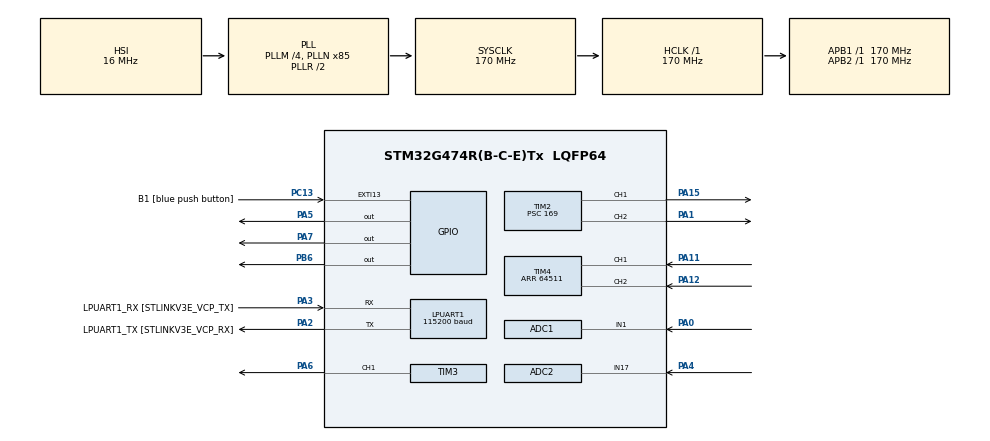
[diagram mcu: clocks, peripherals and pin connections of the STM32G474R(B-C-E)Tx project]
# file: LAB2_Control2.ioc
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ADC1.Channel-0\#ChannelRegularConversion=ADC_CHANNEL_1
ADC1.ContinuousConvMode=ENABLE
ADC1.DMAContinuousRequests=ENABLE
ADC1.EOCSelection=ADC_EOC_SINGLE_CONV
ADC1.EnableInjectedConversion=DISABLE
ADC1.NbrOfConversionFlag=1
ADC1.OffsetNumber-0\#ChannelRegularConversion=ADC_OFFSET_NONE
ADC1.Overrun=ADC_OVR_DATA_PRESERVED
ADC1.OversamplingMode=DISABLE
ADC1.Rank-0\#ChannelRegularConversion=1
ADC1.Rank1_Channel=ADC_CHANNEL_1
ADC1.Rank2_Channel=ADC_CHANNEL_1
ADC1.SamplingTime-0\#ChannelRegularConversion=ADC_SAMPLETIME_2CYCLES_5
ADC1.master=1
ADC2.Channel-2\#ChannelRegularConversion=ADC_CHANNEL_17
ADC2.ContinuousConvMode=ENABLE
ADC2.DMAContinuousRequests=ENABLE
ADC2.NbrOfConversionFlag=1
ADC2.OffsetNumber-2\#ChannelRegularConversion=ADC_OFFSET_NONE
ADC2.Rank-2\#ChannelRegularConversion=1
ADC2.SamplingTime-2\#ChannelRegularConversion=ADC_SAMPLETIME_2CYCLES_5
ARM.CMSIS-DSP.1.15.0.CMSISJjDSP=Source
ARM.CMSIS.6.0.0.CMSISJjCORE=true
Dma.ADC1.0.Direction=DMA_PERIPH_TO_MEMORY
Dma.ADC1.0.EventEnable=DISABLE
Dma.ADC1.0.Instance=DMA1_Channel1
Dma.ADC1.0.MemDataAlignment=DMA_MDATAALIGN_HALFWORD
Dma.ADC1.0.MemInc=DMA_MINC_ENABLE
Dma.ADC1.0.Mode=DMA_CIRCULAR
Dma.ADC1.0.PeriphDataAlignment=DMA_PDATAALIGN_HALFWORD
Dma.ADC1.0.PeriphInc=DMA_PINC_DISABLE
Dma.ADC1.0.Polarity=HAL_DMAMUX_REQ_GEN_RISING
Dma.ADC1.0.Priority=DMA_PRIORITY_LOW
Dma.ADC1.0.RequestNumber=1
Dma.ADC1.0.SignalID=NONE
Dma.ADC1.0.SyncEnable=DISABLE
Dma.ADC1.0.SyncPolarity=HAL_DMAMUX_SYNC_NO_EVENT
Dma.ADC1.0.SyncRequestNumber=1
Dma.ADC1.0.SyncSignalID=NONE
Dma.ADC2.1.Direction=DMA_PERIPH_TO_MEMORY
Dma.ADC2.1.EventEnable=DISABLE
Dma.ADC2.1.Instance=DMA2_Channel1
Dma.ADC2.1.MemDataAlignment=DMA_MDATAALIGN_HALFWORD
Dma.ADC2.1.MemInc=DMA_MINC_ENABLE
Dma.ADC2.1.Mode=DMA_CIRCULAR
Dma.ADC2.1.PeriphDataAlignment=DMA_PDATAALIGN_HALFWORD
Dma.ADC2.1.PeriphInc=DMA_PINC_DISABLE
Dma.ADC2.1.Polarity=HAL_DMAMUX_REQ_GEN_RISING
Dma.ADC2.1.Priority=DMA_PRIORITY_LOW
Dma.ADC2.1.RequestNumber=1
Dma.ADC2.1.SignalID=NONE
Dma.ADC2.1.SyncEnable=DISABLE
Dma.ADC2.1.SyncPolarity=HAL_DMAMUX_SYNC_NO_EVENT
Dma.ADC2.1.SyncRequestNumber=1
Dma.ADC2.1.SyncSignalID=NONE
Dma.Request0=ADC1
Dma.Request1=ADC2
LPUART1.BaudRate=115200
Mcu.Family=STM32G4
Mcu.Name=STM32G474R(B-C-E)Tx
Mcu.Package=LQFP64
NVIC.DMA1_Channel1_IRQn=true\:0\:0\:false\:false\:true\:false\:true\:true
NVIC.DMA2_Channel1_IRQn=true\:0\:0\:false\:false\:true\:false\:true\:true
NVIC.EXTI15_10_IRQn=true\:0\:0\:false\:false\:true\:true\:true\:true
NVIC.LPUART1_IRQn=true\:0\:0\:false\:false\:true\:true\:true\:true
NVIC.PriorityGroup=NVIC_PRIORITYGROUP_4
PA0.Mode=IN1-Single-Ended
PA0.Signal=ADC1_IN1
PA1.Signal=S_TIM2_CH2
PA11.Signal=S_TIM4_CH1
PA12.Signal=S_TIM4_CH2
PA13.GPIO_Label=T_SWDIO
PA13.Mode=Trace_Asynchronous_SW
PA13.Signal=SYS_JTMS-SWDIO
PA14.GPIO_Label=T_SWCLK
PA14.Mode=Trace_Asynchronous_SW
PA14.Signal=SYS_JTCK-SWCLK
PA15.Signal=S_TIM2_CH1
PA2.GPIO_Label=LPUART1_TX [STLINKV3E_VCP_RX]
PA2.Mode=Asynchronous
PA2.Signal=LPUART1_TX
PA3.GPIO_Label=LPUART1_RX [STLINKV3E_VCP_TX]
PA3.Mode=Asynchronous
PA3.Signal=LPUART1_RX
PA4.Mode=IN17-Single-Ended
PA4.Signal=ADC2_IN17
PA5.Signal=GPIO_Output
PA6.Signal=S_TIM3_CH1
PA7.Signal=GPIO_Output
PB3.GPIO_Label=T_SWO
PB3.Mode=Trace_Asynchronous_SW
PB3.Signal=SYS_JTDO-SWO
PB6.Signal=GPIO_Output
PC13.GPIO_Label=B1 [blue push button]
PC13.Signal=GPXTI13
PC14-OSC32_IN.Mode=LSE-External-Oscillator
PC14-OSC32_IN.Signal=RCC_OSC32_IN
PC15-OSC32_OUT.Mode=LSE-External-Oscillator
PC15-OSC32_OUT.Signal=RCC_OSC32_OUT
PF0-OSC_IN.Mode=HSE-External-Oscillator
PF0-OSC_IN.Signal=RCC_OSC_IN
PF1-OSC_OUT.Mode=HSE-External-Oscillator
PF1-OSC_OUT.Signal=RCC_OSC_OUT
ProjectManager.HeapSize=0x200
ProjectManager.StackSize=0x400
ProjectManager.TargetToolchain=STM32CubeIDE
RCC.ADC12Freq_Value=170000000
RCC.ADC345Freq_Value=170000000
RCC.AHBFreq_Value=170000000
RCC.APB1Freq_Value=170000000
RCC.APB1TimFreq_Value=170000000
RCC.APB2Freq_Value=170000000
RCC.APB2TimFreq_Value=170000000
RCC.CortexFreq_Value=170000000
RCC.EXTERNAL_CLOCK_VALUE=12288000
RCC.HCLKFreq_Value=170000000
RCC.HSE_VALUE=24000000
RCC.HSI48_VALUE=48000000
RCC.HSI_VALUE=16000000
RCC.PLLM=RCC_PLLM_DIV4
RCC.PLLN=85
RCC.RTCClockSelection=RCC_RTCCLKSOURCE_LSE
RCC.SYSCLKFreq_VALUE=170000000
RCC.SYSCLKSource=RCC_SYSCLKSOURCE_PLLCLK
RCC.USBFreq_Value=170000000
RCC.VCOOutputFreq_Value=340000000
SH.S_TIM2_CH1.0=TIM2_CH1,PWM Generation1 CH1
SH.S_TIM2_CH2.0=TIM2_CH2,PWM Generation2 CH2
SH.S_TIM3_CH1.0=TIM3_CH1,PWM Generation1 CH1
SH.S_TIM4_CH1.0=TIM4_CH1,Encoder_Interface
SH.S_TIM4_CH2.0=TIM4_CH2,Encoder_Interface
TIM2.Channel-PWM\ Generation1\ CH1=TIM_CHANNEL_1
TIM2.Channel-PWM\ Generation2\ CH2=TIM_CHANNEL_2
TIM2.PeriodNoDither=19999
TIM2.Prescaler=169
TIM3.Channel-PWM\ Generation1\ CH1=TIM_CHANNEL_1
TIM3.PeriodNoDither=19999
TIM3.Prescaler=169
TIM4.EncoderMode=TIM_ENCODERMODE_TI12
TIM4.PeriodNoDither=64511
TIM5.Prescaler=169
VP_ARM.CMSIS-DSP_VS_CMSISJjDSP_1.15.0_1.15.0.Mode=CMSISJjDSP
VP_ARM.CMSIS_VS_CMSISJjCORE_6.0.0_6.0.0.Mode=CMSISJjCORE
VP_SYS_VS_DBSignals.Mode=DisableDeadBatterySignals
VP_TIM2_VS_ClockSourceINT.Mode=Internal
VP_TIM3_VS_ClockSourceINT.Mode=Internal
VP_TIM5_VS_ClockSourceINT.Mode=Internal
board=NUCLEO-G474RE

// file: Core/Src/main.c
/* USER CODE BEGIN Header */
/**
  ******************************************************************************
  * @file           : main.c
  * @brief          : Main program body
  ******************************************************************************
  * @attention
  *
  * Copyright (c) 2024 STMicroelectronics.
  * All rights reserved.
  *
  * This software is licensed under terms that can be found in the LICENSE file
  * in the root directory of this software component.
  * If no LICENSE file comes with this software, it is provided AS-IS.
  *
  ******************************************************************************
  */
/* USER CODE END Header */
#include "main.h"

/* USER CODE BEGIN Includes */
#include "arm_math.h"
#include "math.h"
/* USER CODE END Includes */

ADC_HandleTypeDef hadc1;
ADC_HandleTypeDef hadc2;
DMA_HandleTypeDef hdma_adc1;
DMA_HandleTypeDef hdma_adc2;

UART_HandleTypeDef hlpuart1;

TIM_HandleTypeDef htim2;
TIM_HandleTypeDef htim3;
TIM_HandleTypeDef htim4;
TIM_HandleTypeDef htim5;

/* USER CODE BEGIN PV */
//Poten motor control
uint16_t ADC_RawRead[40]={0};
uint16_t angle;

//UART for mode 3
uint8_t RxBuffer[5];
uint8_t TxBuffer[5];

//output motor control
int16_t PWM = 0;

//for PID
arm_pid_instance_f32 PID = {0};
float position = 0; //position for calculate PID
uint16_t ADC_RawRead2[40]={0}; // poten set position
float setposition = 0; //target of PID
float Vfeedback = 0;

//find error in un-wrap and normal case
float ErrorNormal = 0;
float ErrorWrapPlus = 0;
float ErrorWrapMinus = 0;
float Error = 0;

//mode
int mode = 2;

//debug
int a = 1;

//for mode 2
uint32_t QEIReadRaw;
uint32_t degree; //encoder degree
uint32_t realdegree; //motor degree
float PWM1; //output1 for motor
float PWM2; //output2 for motor
typedef struct
{
	// for record New / Old value to calculate dx / dt
	uint32_t Position[2];
	uint64_t TimeStamp[2];
	float QEIPostion_1turn;
	float QEIAngularVelocity;
}
QEI_StructureTypeDef;
QEI_StructureTypeDef QEIdata = {0};
uint64_t _micros = 0;
enum
{
	NEW,OLD
};
/* USER CODE END PV */

void SystemClock_Config(void);
static void MX_GPIO_Init(void);
static void MX_DMA_Init(void);
static void MX_LPUART1_UART_Init(void);
static void MX_ADC1_Init(void);
static void MX_TIM3_Init(void);
static void MX_TIM2_Init(void);
static void MX_TIM4_Init(void);
static void MX_TIM5_Init(void);
static void MX_ADC2_Init(void);
/* USER CODE BEGIN PFP */
void ADC_Read_blocking();
void UARTInterruptConfig();
uint16_t Average_ADC();
uint16_t Average_ADC2();
void setMotor();
void Wrapselect();
uint64_t micros();
void QEIEncoderPosVel_Update();
/* USER CODE END PFP */

int main(void)
{

  /* MCU Configuration--------------------------------------------------------*/

  /* Reset of all peripherals, Initializes the Flash interface and the Systick. */
  HAL_Init();

  /* Configure the system clock */
  SystemClock_Config();

  /* Initialize all configured peripherals */
  MX_GPIO_Init();
  MX_DMA_Init();
  MX_LPUART1_UART_Init();
  MX_ADC1_Init();
  MX_TIM3_Init();
  MX_TIM2_Init();
  MX_TIM4_Init();
  MX_TIM5_Init();
  MX_ADC2_Init();
  /* USER CODE BEGIN 2 */
  //ADC for poten motor
  HAL_ADCEx_Calibration_Start(&hadc1, ADC_SINGLE_ENDED);
  HAL_ADC_Start_DMA(&hadc1, ADC_RawRead, 40);

  //UART
  HAL_UART_Receive_IT(&hlpuart1, RxBuffer, 4);

  //PWM motor and direction pin
  HAL_TIM_Base_Start(&htim3);
  HAL_TIM_PWM_Start(&htim3, TIM_CHANNEL_1);
  HAL_GPIO_WritePin(GPIOA, GPIO_PIN_7,GPIO_PIN_RESET);
  HAL_GPIO_WritePin(GPIOB, GPIO_PIN_6,GPIO_PIN_RESET);

  //Encoder fualhaber
  HAL_TIM_Encoder_Start(&htim4,TIM_CHANNEL_ALL);
  HAL_TIM_Base_Start_IT(&htim5);

  //PWM motor faulhaber
  HAL_TIM_Base_Start(&htim2);
  HAL_TIM_PWM_Start(&htim2, TIM_CHANNEL_1);
  HAL_TIM_PWM_Start(&htim2, TIM_CHANNEL_2);

  //PID
  PID.Kp = 1;
  PID.Ki = 0.00000001;
  PID.Kd = 0;
  arm_pid_init_f32(&PID, 0);

  //ADC set position
  HAL_ADCEx_Calibration_Start(&hadc2, ADC_SINGLE_ENDED);
  HAL_ADC_Start_DMA(&hadc2, ADC_RawRead2, 40);
  /* USER CODE END 2 */

  /* Infinite loop */
  while (1)
  {

    /* USER CODE BEGIN 3 */
	  //find set position
	  setposition = Average_ADC2()/4095.0*2*M_PI;

	  if(mode == 3){
		  static uint32_t TimeStamp = 0;
		  if( HAL_GetTick()>=TimeStamp){
			  TimeStamp = HAL_GetTick()+5;
			  angle = Average_ADC();

			  TxBuffer[0] = 69; // header
			  TxBuffer[1] = angle & 0xff;
			  TxBuffer[2] = (angle & 0xff00) >> 8;
			  TxBuffer[3] = 10; // \n

			  HAL_UART_Transmit(&hlpuart1,TxBuffer, 4, 10);

			  setMotor();
		  }
		  static uint32_t TimeStamp2 = 0;
		  if( HAL_GetTick()>=TimeStamp2){
			  TimeStamp2 = HAL_GetTick()+1000;
			  HAL_GPIO_TogglePin(GPIOA, GPIO_PIN_5);
		  }
	  }

	  if(mode == 2){
		  QEIReadRaw = __HAL_TIM_GET_COUNTER(&htim4);
		  realdegree = (QEIReadRaw*360)/3071;
		  degree = (((QEIReadRaw*360)/3071)*64);
		  position = ((realdegree)%360)*M_PI/180;
		  Wrapselect();
		  Vfeedback = arm_pid_f32(&PID, Error);
		  if (Vfeedback > 5)
			  Vfeedback = 5;
		  else if (Vfeedback < -5)
			  Vfeedback = -5;
		  if(Vfeedback > 0){
			  PWM1 = Vfeedback*19999/5.0;
			  PWM2 = 0;
		  }
		  else if(Vfeedback < 0){
			  PWM1 = 0;
			  PWM2 = Vfeedback*-19999/5.0;
		  }
		  __HAL_TIM_SET_COMPARE(&htim2, TIM_CHANNEL_1, (int)PWM1);
		  __HAL_TIM_SET_COMPARE(&htim2, TIM_CHANNEL_2, (int)PWM2);
	  }

	  if(mode == 1){
		  static uint32_t timestamp = 0;
		  if(timestamp < HAL_GetTick())
		  {
			  timestamp = HAL_GetTick()+2;

			  Wrapselect();
			  Vfeedback = arm_pid_f32(&PID, Error);
			  position = Average_ADC()/4095.0*2*M_PI;
			  if (Vfeedback > 12)
				  Vfeedback = 12;
			  else if (Vfeedback < -12)
				  Vfeedback = -12;
			  PWM = Vfeedback*32767.0/12.0;
			  setMotor();
		  }
	  }

  }
  /* USER CODE END 3 */
}

void SystemClock_Config(void)
{
  RCC_OscInitTypeDef RCC_OscInitStruct = {0};
  RCC_ClkInitTypeDef RCC_ClkInitStruct = {0};

  /** Configure the main internal regulator output voltage
  */
  HAL_PWREx_ControlVoltageScaling(PWR_REGULATOR_VOLTAGE_SCALE1_BOOST);

  /** Initializes the RCC Oscillators according to the specified parameters
  * in the RCC_OscInitTypeDef structure.
  */
  RCC_OscInitStruct.OscillatorType = RCC_OSCILLATORTYPE_HSI;
  RCC_OscInitStruct.HSIState = RCC_HSI_ON;
  RCC_OscInitStruct.HSICalibrationValue = RCC_HSICALIBRATION_DEFAULT;
  RCC_OscInitStruct.PLL.PLLState = RCC_PLL_ON;
  RCC_OscInitStruct.PLL.PLLSource = RCC_PLLSOURCE_HSI;
  RCC_OscInitStruct.PLL.PLLM = RCC_PLLM_DIV4;
  RCC_OscInitStruct.PLL.PLLN = 85;
  RCC_OscInitStruct.PLL.PLLP = RCC_PLLP_DIV2;
  RCC_OscInitStruct.PLL.PLLQ = RCC_PLLQ_DIV2;
  RCC_OscInitStruct.PLL.PLLR = RCC_PLLR_DIV2;
  if (HAL_RCC_OscConfig(&RCC_OscInitStruct) != HAL_OK)
  {
    Error_Handler();
  }

  /** Initializes the CPU, AHB and APB buses clocks
  */
  RCC_ClkInitStruct.ClockType = RCC_CLOCKTYPE_HCLK|RCC_CLOCKTYPE_SYSCLK
                              |RCC_CLOCKTYPE_PCLK1|RCC_CLOCKTYPE_PCLK2;
  RCC_ClkInitStruct.SYSCLKSource = RCC_SYSCLKSOURCE_PLLCLK;
  RCC_ClkInitStruct.AHBCLKDivider = RCC_SYSCLK_DIV1;
  RCC_ClkInitStruct.APB1CLKDivider = RCC_HCLK_DIV1;
  RCC_ClkInitStruct.APB2CLKDivider = RCC_HCLK_DIV1;

  if (HAL_RCC_ClockConfig(&RCC_ClkInitStruct, FLASH_LATENCY_4) != HAL_OK)
  {
    Error_Handler();
  }
}

static void MX_ADC1_Init(void)
{

  ADC_MultiModeTypeDef multimode = {0};
  ADC_ChannelConfTypeDef sConfig = {0};

  /** Common config
  */
  hadc1.Instance = ADC1;
  hadc1.Init.ClockPrescaler = ADC_CLOCK_SYNC_PCLK_DIV4;
  hadc1.Init.Resolution = ADC_RESOLUTION_12B;
  hadc1.Init.DataAlign = ADC_DATAALIGN_RIGHT;
  hadc1.Init.GainCompensation = 0;
  hadc1.Init.ScanConvMode = ADC_SCAN_DISABLE;
  hadc1.Init.EOCSelection = ADC_EOC_SINGLE_CONV;
  hadc1.Init.LowPowerAutoWait = DISABLE;
  hadc1.Init.ContinuousConvMode = ENABLE;
  hadc1.Init.NbrOfConversion = 1;
  hadc1.Init.DiscontinuousConvMode = DISABLE;
  hadc1.Init.ExternalTrigConv = ADC_SOFTWARE_START;
  hadc1.Init.ExternalTrigConvEdge = ADC_EXTERNALTRIGCONVEDGE_NONE;
  hadc1.Init.DMAContinuousRequests = ENABLE;
  hadc1.Init.Overrun = ADC_OVR_DATA_PRESERVED;
  hadc1.Init.OversamplingMode = DISABLE;
  if (HAL_ADC_Init(&hadc1) != HAL_OK)
  {
    Error_Handler();
  }

  /** Configure the ADC multi-mode
  */
  multimode.Mode = ADC_MODE_INDEPENDENT;
  if (HAL_ADCEx_MultiModeConfigChannel(&hadc1, &multimode) != HAL_OK)
  {
    Error_Handler();
  }

  /** Configure Regular Channel
  */
  sConfig.Channel = ADC_CHANNEL_1;
  sConfig.Rank = ADC_REGULAR_RANK_1;
  sConfig.SamplingTime = ADC_SAMPLETIME_2CYCLES_5;
  sConfig.SingleDiff = ADC_SINGLE_ENDED;
  sConfig.OffsetNumber = ADC_OFFSET_NONE;
  sConfig.Offset = 0;
  if (HAL_ADC_ConfigChannel(&hadc1, &sConfig) != HAL_OK)
  {
    Error_Handler();
  }

}

static void MX_ADC2_Init(void)
{

  ADC_ChannelConfTypeDef sConfig = {0};

  /** Common config
  */
  hadc2.Instance = ADC2;
  hadc2.Init.ClockPrescaler = ADC_CLOCK_SYNC_PCLK_DIV4;
  hadc2.Init.Resolution = ADC_RESOLUTION_12B;
  hadc2.Init.DataAlign = ADC_DATAALIGN_RIGHT;
  hadc2.Init.GainCompensation = 0;
  hadc2.Init.ScanConvMode = ADC_SCAN_DISABLE;
  hadc2.Init.EOCSelection = ADC_EOC_SINGLE_CONV;
  hadc2.Init.LowPowerAutoWait = DISABLE;
  hadc2.Init.ContinuousConvMode = ENABLE;
  hadc2.Init.NbrOfConversion = 1;
  hadc2.Init.DiscontinuousConvMode = DISABLE;
  hadc2.Init.ExternalTrigConv = ADC_SOFTWARE_START;
  hadc2.Init.ExternalTrigConvEdge = ADC_EXTERNALTRIGCONVEDGE_NONE;
  hadc2.Init.DMAContinuousRequests = ENABLE;
  hadc2.Init.Overrun = ADC_OVR_DATA_PRESERVED;
  hadc2.Init.OversamplingMode = DISABLE;
  if (HAL_ADC_Init(&hadc2) != HAL_OK)
  {
    Error_Handler();
  }

  /** Configure Regular Channel
  */
  sConfig.Channel = ADC_CHANNEL_17;
  sConfig.Rank = ADC_REGULAR_RANK_1;
  sConfig.SamplingTime = ADC_SAMPLETIME_2CYCLES_5;
  sConfig.SingleDiff = ADC_SINGLE_ENDED;
  sConfig.OffsetNumber = ADC_OFFSET_NONE;
  sConfig.Offset = 0;
  if (HAL_ADC_ConfigChannel(&hadc2, &sConfig) != HAL_OK)
  {
    Error_Handler();
  }

}

static void MX_LPUART1_UART_Init(void)
{

  hlpuart1.Instance = LPUART1;
  hlpuart1.Init.BaudRate = 115200;
  hlpuart1.Init.WordLength = UART_WORDLENGTH_8B;
  hlpuart1.Init.StopBits = UART_STOPBITS_1;
  hlpuart1.Init.Parity = UART_PARITY_NONE;
  hlpuart1.Init.Mode = UART_MODE_TX_RX;
  hlpuart1.Init.HwFlowCtl = UART_HWCONTROL_NONE;
  hlpuart1.Init.OneBitSampling = UART_ONE_BIT_SAMPLE_DISABLE;
  hlpuart1.Init.ClockPrescaler = UART_PRESCALER_DIV1;
  hlpuart1.AdvancedInit.AdvFeatureInit = UART_ADVFEATURE_NO_INIT;
  if (HAL_UART_Init(&hlpuart1) != HAL_OK)
  {
    Error_Handler();
  }
  if (HAL_UARTEx_SetTxFifoThreshold(&hlpuart1, UART_TXFIFO_THRESHOLD_1_8) != HAL_OK)
  {
    Error_Handler();
  }
  if (HAL_UARTEx_SetRxFifoThreshold(&hlpuart1, UART_RXFIFO_THRESHOLD_1_8) != HAL_OK)
  {
    Error_Handler();
  }
  if (HAL_UARTEx_DisableFifoMode(&hlpuart1) != HAL_OK)
  {
    Error_Handler();
  }

}

static void MX_TIM2_Init(void)
{

  TIM_ClockConfigTypeDef sClockSourceConfig = {0};
  TIM_MasterConfigTypeDef sMasterConfig = {0};
  TIM_OC_InitTypeDef sConfigOC = {0};

  htim2.Instance = TIM2;
  htim2.Init.Prescaler = 169;
  htim2.Init.CounterMode = TIM_COUNTERMODE_UP;
  htim2.Init.Period = 19999;
  htim2.Init.ClockDivision = TIM_CLOCKDIVISION_DIV1;
  htim2.Init.AutoReloadPreload = TIM_AUTORELOAD_PRELOAD_DISABLE;
  if (HAL_TIM_Base_Init(&htim2) != HAL_OK)
  {
    Error_Handler();
  }
  sClockSourceConfig.ClockSource = TIM_CLOCKSOURCE_INTERNAL;
  if (HAL_TIM_ConfigClockSource(&htim2, &sClockSourceConfig) != HAL_OK)
  {
    Error_Handler();
  }
  if (HAL_TIM_PWM_Init(&htim2) != HAL_OK)
  {
    Error_Handler();
  }
  sMasterConfig.MasterOutputTrigger = TIM_TRGO_RESET;
  sMasterConfig.MasterSlaveMode = TIM_MASTERSLAVEMODE_DISABLE;
  if (HAL_TIMEx_MasterConfigSynchronization(&htim2, &sMasterConfig) != HAL_OK)
  {
    Error_Handler();
  }
  sConfigOC.OCMode = TIM_OCMODE_PWM1;
  sConfigOC.Pulse = 0;
  sConfigOC.OCPolarity = TIM_OCPOLARITY_HIGH;
  sConfigOC.OCFastMode = TIM_OCFAST_DISABLE;
  if (HAL_TIM_PWM_ConfigChannel(&htim2, &sConfigOC, TIM_CHANNEL_1) != HAL_OK)
  {
    Error_Handler();
  }
  if (HAL_TIM_PWM_ConfigChannel(&htim2, &sConfigOC, TIM_CHANNEL_2) != HAL_OK)
  {
    Error_Handler();
  }
  HAL_TIM_MspPostInit(&htim2);

}

static void MX_TIM3_Init(void)
{

  TIM_ClockConfigTypeDef sClockSourceConfig = {0};
  TIM_MasterConfigTypeDef sMasterConfig = {0};
  TIM_OC_InitTypeDef sConfigOC = {0};

  htim3.Instance = TIM3;
  htim3.Init.Prescaler = 169;
  htim3.Init.CounterMode = TIM_COUNTERMODE_UP;
  htim3.Init.Period = 19999;
  htim3.Init.ClockDivision = TIM_CLOCKDIVISION_DIV1;
  htim3.Init.AutoReloadPreload = TIM_AUTORELOAD_PRELOAD_DISABLE;
  if (HAL_TIM_Base_Init(&htim3) != HAL_OK)
  {
    Error_Handler();
  }
  sClockSourceConfig.ClockSource = TIM_CLOCKSOURCE_INTERNAL;
  if (HAL_TIM_ConfigClockSource(&htim3, &sClockSourceConfig) != HAL_OK)
  {
    Error_Handler();
  }
  if (HAL_TIM_PWM_Init(&htim3) != HAL_OK)
  {
    Error_Handler();
  }
  sMasterConfig.MasterOutputTrigger = TIM_TRGO_RESET;
  sMasterConfig.MasterSlaveMode = TIM_MASTERSLAVEMODE_DISABLE;
  if (HAL_TIMEx_MasterConfigSynchronization(&htim3, &sMasterConfig) != HAL_OK)
  {
    Error_Handler();
  }
  sConfigOC.OCMode = TIM_OCMODE_PWM1;
  sConfigOC.Pulse = 0;
  sConfigOC.OCPolarity = TIM_OCPOLARITY_HIGH;
  sConfigOC.OCFastMode = TIM_OCFAST_DISABLE;
  if (HAL_TIM_PWM_ConfigChannel(&htim3, &sConfigOC, TIM_CHANNEL_1) != HAL_OK)
  {
    Error_Handler();
  }
  HAL_TIM_MspPostInit(&htim3);

}

static void MX_TIM4_Init(void)
{

  TIM_Encoder_InitTypeDef sConfig = {0};
  TIM_MasterConfigTypeDef sMasterConfig = {0};

  htim4.Instance = TIM4;
  htim4.Init.Prescaler = 0;
  htim4.Init.CounterMode = TIM_COUNTERMODE_UP;
  htim4.Init.Period = 64511;
  htim4.Init.ClockDivision = TIM_CLOCKDIVISION_DIV1;
  htim4.Init.AutoReloadPreload = TIM_AUTORELOAD_PRELOAD_DISABLE;
  sConfig.EncoderMode = TIM_ENCODERMODE_TI12;
  sConfig.IC1Polarity = TIM_ICPOLARITY_RISING;
  sConfig.IC1Selection = TIM_ICSELECTION_DIRECTTI;
  sConfig.IC1Prescaler = TIM_ICPSC_DIV1;
  sConfig.IC1Filter = 0;
  sConfig.IC2Polarity = TIM_ICPOLARITY_RISING;
  sConfig.IC2Selection = TIM_ICSELECTION_DIRECTTI;
  sConfig.IC2Prescaler = TIM_ICPSC_DIV1;
  sConfig.IC2Filter = 0;
  if (HAL_TIM_Encoder_Init(&htim4, &sConfig) != HAL_OK)
  {
    Error_Handler();
  }
  sMasterConfig.MasterOutputTrigger = TIM_TRGO_RESET;
  sMasterConfig.MasterSlaveMode = TIM_MASTERSLAVEMODE_DISABLE;
  if (HAL_TIMEx_MasterConfigSynchronization(&htim4, &sMasterConfig) != HAL_OK)
  {
    Error_Handler();
  }

}

static void MX_TIM5_Init(void)
{

  TIM_ClockConfigTypeDef sClockSourceConfig = {0};
  TIM_MasterConfigTypeDef sMasterConfig = {0};

  htim5.Instance = TIM5;
  htim5.Init.Prescaler = 169;
  htim5.Init.CounterMode = TIM_COUNTERMODE_UP;
  htim5.Init.Period = 4.294967295E9;
  htim5.Init.ClockDivision = TIM_CLOCKDIVISION_DIV1;
  htim5.Init.AutoReloadPreload = TIM_AUTORELOAD_PRELOAD_DISABLE;
  if (HAL_TIM_Base_Init(&htim5) != HAL_OK)
  {
    Error_Handler();
  }
  sClockSourceConfig.ClockSource = TIM_CLOCKSOURCE_INTERNAL;
  if (HAL_TIM_ConfigClockSource(&htim5, &sClockSourceConfig) != HAL_OK)
  {
    Error_Handler();
  }
  sMasterConfig.MasterOutputTrigger = TIM_TRGO_RESET;
  sMasterConfig.MasterSlaveMode = TIM_MASTERSLAVEMODE_DISABLE;
  if (HAL_TIMEx_MasterConfigSynchronization(&htim5, &sMasterConfig) != HAL_OK)
  {
    Error_Handler();
  }

}

static void MX_DMA_Init(void)
{

  /* DMA controller clock enable */
  __HAL_RCC_DMAMUX1_CLK_ENABLE();
  __HAL_RCC_DMA1_CLK_ENABLE();
  __HAL_RCC_DMA2_CLK_ENABLE();

  /* DMA interrupt init */
  /* DMA1_Channel1_IRQn interrupt configuration */
  HAL_NVIC_SetPriority(DMA1_Channel1_IRQn, 0, 0);
  HAL_NVIC_EnableIRQ(DMA1_Channel1_IRQn);
  /* DMA2_Channel1_IRQn interrupt configuration */
  HAL_NVIC_SetPriority(DMA2_Channel1_IRQn, 0, 0);
  HAL_NVIC_EnableIRQ(DMA2_Channel1_IRQn);

}

static void MX_GPIO_Init(void)
{
  GPIO_InitTypeDef GPIO_InitStruct = {0};

  /* GPIO Ports Clock Enable */
  __HAL_RCC_GPIOC_CLK_ENABLE();
  __HAL_RCC_GPIOF_CLK_ENABLE();
  __HAL_RCC_GPIOA_CLK_ENABLE();
  __HAL_RCC_GPIOB_CLK_ENABLE();

  /*Configure GPIO pin Output Level */
  HAL_GPIO_WritePin(GPIOA, GPIO_PIN_5|GPIO_PIN_7, GPIO_PIN_RESET);

  /*Configure GPIO pin Output Level */
  HAL_GPIO_WritePin(GPIOB, GPIO_PIN_6, GPIO_PIN_RESET);

  /*Configure GPIO pin : B1_Pin */
  GPIO_InitStruct.Pin = B1_Pin;
  GPIO_InitStruct.Mode = GPIO_MODE_IT_RISING;
  GPIO_InitStruct.Pull = GPIO_NOPULL;
  HAL_GPIO_Init(B1_GPIO_Port, &GPIO_InitStruct);

  /*Configure GPIO pins : PA5 PA7 */
  GPIO_InitStruct.Pin = GPIO_PIN_5|GPIO_PIN_7;
  GPIO_InitStruct.Mode = GPIO_MODE_OUTPUT_PP;
  GPIO_InitStruct.Pull = GPIO_NOPULL;
  GPIO_InitStruct.Speed = GPIO_SPEED_FREQ_LOW;
  HAL_GPIO_Init(GPIOA, &GPIO_InitStruct);

  /*Configure GPIO pin : PB6 */
  GPIO_InitStruct.Pin = GPIO_PIN_6;
  GPIO_InitStruct.Mode = GPIO_MODE_OUTPUT_PP;
  GPIO_InitStruct.Pull = GPIO_NOPULL;
  GPIO_InitStruct.Speed = GPIO_SPEED_FREQ_LOW;
  HAL_GPIO_Init(GPIOB, &GPIO_InitStruct);

  /* EXTI interrupt init*/
  HAL_NVIC_SetPriority(EXTI15_10_IRQn, 0, 0);
  HAL_NVIC_EnableIRQ(EXTI15_10_IRQn);

}

/* USER CODE BEGIN 4 */
void HAL_GPIO_EXTI_Callback(uint16_t GPIO_Pin)
{
	if(GPIO_Pin == GPIO_PIN_13)
	{
		if(mode == 1){
			mode = 2;
			HAL_GPIO_WritePin(GPIOA, GPIO_PIN_5, GPIO_PIN_RESET);
		}
		else if(mode == 2){
			mode = 3;
		}
		else if(mode == 3){
			mode = 1;
			HAL_GPIO_WritePin(GPIOA, GPIO_PIN_5, GPIO_PIN_SET);
		}
	}
}

uint16_t Average_ADC()
{
	uint32_t sum = 0;
	uint16_t average = 0;
	for(int i = 0; i<40; i++){
		sum+=ADC_RawRead[i];
	}
	average = sum/40;
	return average;
}

uint16_t Average_ADC2()
{
	uint32_t sum = 0;
	uint16_t average = 0;
	for(int i = 0; i<40; i++){
		sum+=ADC_RawRead2[i];
	}
	average = sum/40;
	return average;
}

void UARTInterruptConfig()
{
	//start UART in Interrupt Mode
	HAL_UART_Receive_IT(&hlpuart1, RxBuffer, 10);
}

void HAL_UART_RxCpltCallback(UART_HandleTypeDef *huart)
{
	//interupt
	if(huart == &hlpuart1)
	{
		PWM = RxBuffer[1] | (RxBuffer[2] << 8);
		HAL_UART_Receive_IT(&hlpuart1, RxBuffer, 4);
	}
}

void setMotor()
{
	if(PWM > 0){
		HAL_GPIO_WritePin(GPIOA, GPIO_PIN_7,GPIO_PIN_RESET);
		HAL_GPIO_WritePin(GPIOB, GPIO_PIN_6,GPIO_PIN_SET);
		__HAL_TIM_SET_COMPARE(&htim3, TIM_CHANNEL_1, (int)PWM*19999/32767.0);
		a++;
	}
	else{
		HAL_GPIO_WritePin(GPIOB, GPIO_PIN_6,GPIO_PIN_RESET);
		HAL_GPIO_WritePin(GPIOA, GPIO_PIN_7,GPIO_PIN_SET);
		__HAL_TIM_SET_COMPARE(&htim3, TIM_CHANNEL_1, (int)PWM*(-19999)/32767.0);
		a++;
	}
}

void Wrapselect()
{
	ErrorNormal = setposition - position;
	ErrorWrapPlus = setposition - (2*M_PI + position);
	ErrorWrapMinus = setposition - (2*M_PI - position);
	if(fabsf(ErrorNormal) <= fabsf(ErrorWrapPlus) && fabsf(ErrorNormal) <= fabsf(ErrorWrapMinus))
	{
		Error = ErrorNormal;
	}
	else if(fabsf(ErrorWrapPlus) <= fabsf(ErrorNormal) && fabsf(ErrorWrapPlus) <= fabsf(ErrorWrapMinus))
	{
		Error = ErrorWrapPlus;
	}
	else if(fabsf(ErrorWrapMinus) <= fabsf(ErrorNormal) && fabsf(ErrorWrapMinus) <= fabsf(ErrorWrapPlus))
	{
		Error = ErrorWrapMinus;
	}
}

//MicroSecondTimer Implement
void HAL_TIM_PeriodElapsedCallback(TIM_HandleTypeDef *htim)
{
	if(htim == &htim5)
	{
		_micros += UINT32_MAX;
	}
}

uint64_t micros()
{
	return __HAL_TIM_GET_COUNTER(&htim5)+_micros;
}

void QEIEncoderPosVel_Update()
{
	//collect data
	QEIdata.TimeStamp[NEW] = micros();
	QEIdata.Position[NEW] = __HAL_TIM_GET_COUNTER(&htim4);
	//Postion 1 turn calculation
	QEIdata.QEIPostion_1turn = QEIdata.Position[NEW] % 3072;
	//calculate dx
	int32_t diffPosition = QEIdata.Position[NEW] - QEIdata.Position[OLD];
	//Handle Warp around
	if(diffPosition > 32256)
		diffPosition -=64512;
	if(diffPosition < -32256)
		diffPosition +=64512;
	//calculate dt
	float diffTime = (QEIdata.TimeStamp[NEW]-QEIdata.TimeStamp[OLD]) * 0.000001;
	//calculate anglar velocity
	QEIdata.QEIAngularVelocity = diffPosition / diffTime;
	//store value for next loop
	QEIdata.Position[OLD] = QEIdata.Position[NEW];
	QEIdata.TimeStamp[OLD]=QEIdata.TimeStamp[NEW];
	}
/* USER CODE END 4 */

void Error_Handler(void)
{
  __disable_irq();
  while (1)
  {
  }
}
